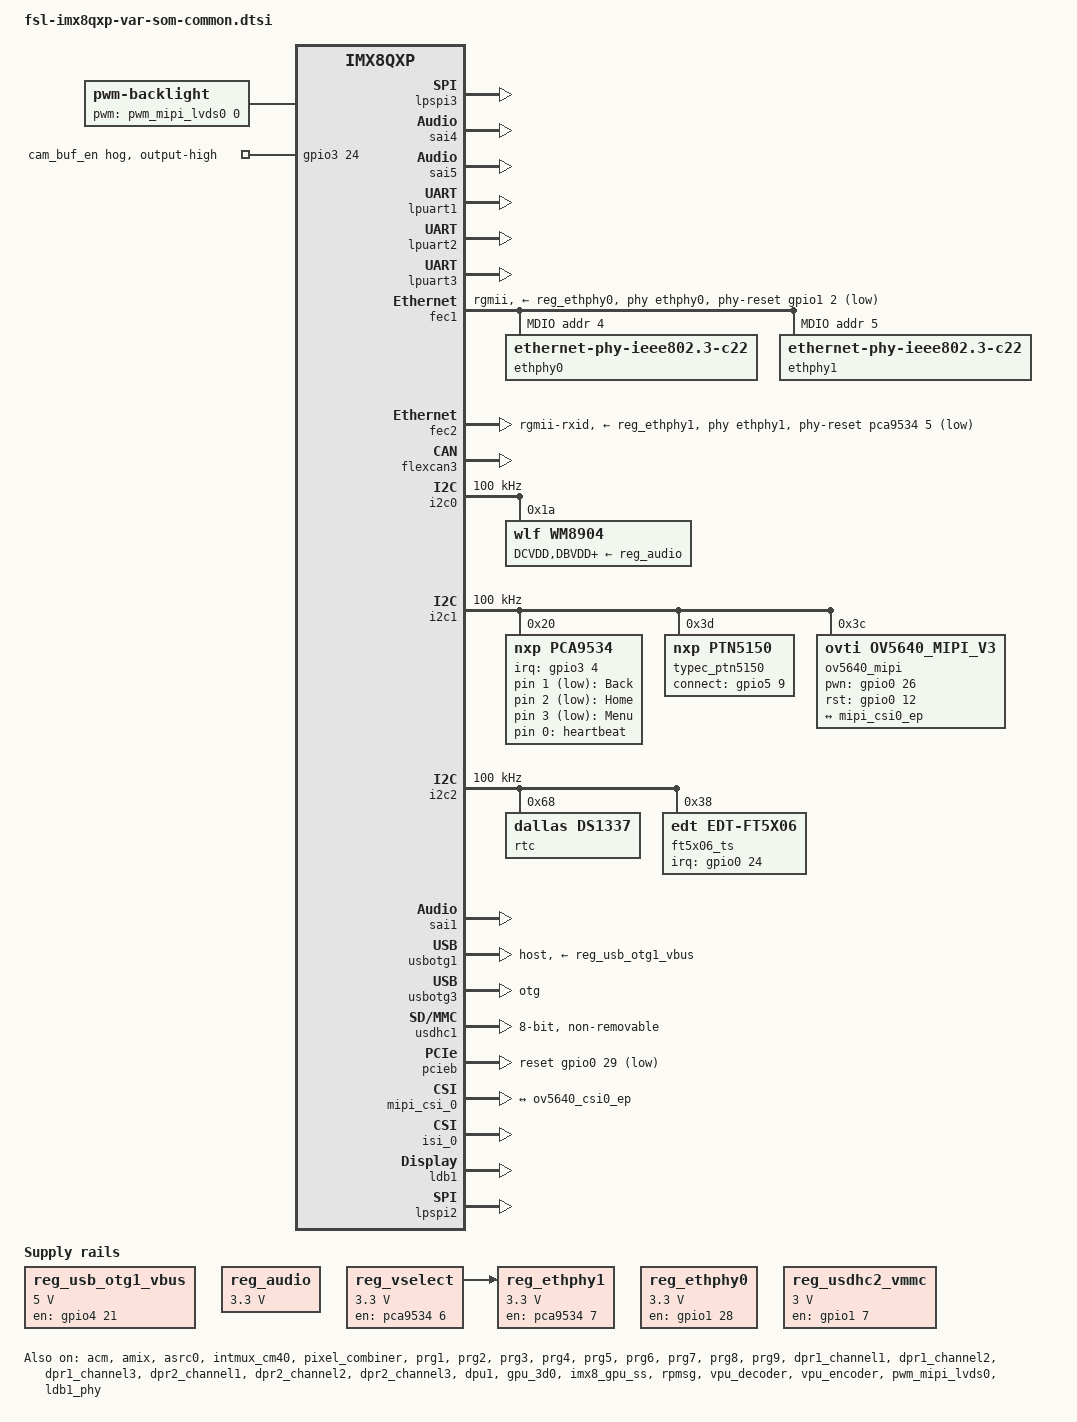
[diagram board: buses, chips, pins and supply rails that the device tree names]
/*
 * Copyright 2017-2018 NXP
 * Copyright 2019 Variscite Ltd.
 *
 * This program is free software; you can redistribute it and/or
 * modify it under the terms of the GNU General Public License
 * as published by the Free Software Foundation; either version 2
 * of the License, or (at your option) any later version.
 *
 * This program is distributed in the hope that it will be useful,
 * but WITHOUT ANY WARRANTY; without even the implied warranty of
 * MERCHANTABILITY or FITNESS FOR A PARTICULAR PURPOSE.  See the
 * GNU General Public License for more details.
 */

/dts-v1/;

#include "../freescale/fsl-imx8qxp.dtsi"

/ {
	compatible = "variscite,var-som-mx8x", "fsl,imx8qxp";

	chosen {
		bootargs = "console=ttyLP3,115200 earlycon=lpuart32,0x5a090000,115200";
		stdout-path = &lpuart3;
	};

	aliases {
		gpio0 = &gpio0;
		gpio1 = &gpio1;
		gpio2 = &gpio2;
		gpio3 = &gpio3;
		gpio4 = &gpio4;
		gpio5 = &gpio5;
		gpio6 = &gpio6;
		gpio7 = &gpio7;
		gpio8 = &pca9534;
		i2c0  = &i2c0;
		i2c1  = &i2c1;
		i2c2  = &i2c2;
	};

	regulators {
		compatible = "simple-bus";
		#address-cells = <1>;
		#size-cells = <0>;

		reg_usb_otg1_vbus: regulator-usb-otg1-vbus {
			compatible = "regulator-fixed";
			regulator-name = "usb_otg1_vbus";
			regulator-min-microvolt = <5000000>;
			regulator-max-microvolt = <5000000>;
			gpio = <&gpio4 21 GPIO_ACTIVE_HIGH>;
			enable-active-high;
		};

		reg_audio: regulator-audio {
			compatible = "regulator-fixed";
			regulator-name = "wm8904_supply";
			regulator-min-microvolt = <3300000>;
			regulator-max-microvolt = <3300000>;
			regulator-always-on;
		};

		reg_vselect: regulator-vselect {
			compatible = "regulator-fixed";
			regulator-name = "reg_vselect";
			regulator-min-microvolt = <3300000>;
			regulator-max-microvolt = <3300000>;
			regulator-always-on;
			gpio = <&pca9534 6 GPIO_ACTIVE_HIGH>;
			enable-active-high;
		};
	
		reg_ethphy1: regulator-ethphy1 {
			compatible = "regulator-fixed";
			vin-supply = <&reg_vselect>;
			regulator-name = "reg_ethphy1";
			regulator-min-microvolt = <3300000>;
			regulator-max-microvolt = <3300000>;
			regulator-always-on;
			gpio = <&pca9534 7 GPIO_ACTIVE_HIGH>;
			enable-active-high;
		};

		reg_ethphy0: regulator-ethphy0 {
			compatible = "regulator-fixed";
			regulator-name = "reg_ethphy0";
			regulator-min-microvolt = <3300000>;
			regulator-max-microvolt = <3300000>;
			gpio = <&gpio1 28 GPIO_ACTIVE_HIGH>;
			enable-active-high;
			regulator-off-in-suspend;
		};

		reg_usdhc2_vmmc: regulator-usdhc2-vmmc {
			compatible = "regulator-fixed";
			regulator-name = "reg_sd_pwr";
			regulator-min-microvolt = <3000000>;
			regulator-max-microvolt = <3000000>;
			gpio = <&gpio1 7 GPIO_ACTIVE_HIGH>;
			off-on-delay = <3480>;
			enable-active-high;
		};
	};

	sound-wm8904 {
		compatible = "fsl,imx-audio-wm8904";
		model = "imx-wm8904";
		audio-cpu = <&sai1>;
		audio-codec = <&wm8904>;
		audio-routing =
			"Headphone Jack", "HPOUTL",
			"Headphone Jack", "HPOUTR",
			"IN2L", "Line In Jack",
			"IN2R", "Line In Jack",
			"IN1L", "Mic Jack",
			"Playback", "CPU-Playback",
			"CPU-Capture", "Capture";
		codec-master;
		status = "okay";
        };

	sound-amix-sai {
		compatible = "fsl,imx-audio-amix";
		model = "amix-audio-sai";
		dais = <&sai4>, <&sai5>;
		amix-controller = <&amix>;
		status = "okay";
	};

	backlight: backlight {
		compatible = "pwm-backlight";
		pwms = <&pwm_mipi_lvds0 0 100000 0>;

		brightness-levels = < 0  1  2  3  4  5  6  7  8  9
				     10 11 12 13 14 15 16 17 18 19
				     20 21 22 23 24 25 26 27 28 29
				     30 31 32 33 34 35 36 37 38 39
				     40 41 42 43 44 45 46 47 48 49
				     50 51 52 53 54 55 56 57 58 59
				     60 61 62 63 64 65 66 67 68 69
				     70 71 72 73 74 75 76 77 78 79
				     80 81 82 83 84 85 86 87 88 89
				     90 91 92 93 94 95 96 97 98 99
				    100>;
		default-brightness-level = <80>;
		status = "okay";
	};

        gpio-keys {
                compatible = "gpio-keys";

                back {
                        label = "Back";
                        gpios = <&pca9534 1 GPIO_ACTIVE_LOW>;
                        linux,code = <KEY_BACK>;
                };

                home {
                        label = "Home";
                        gpios = <&pca9534 2 GPIO_ACTIVE_LOW>;
                        linux,code = <KEY_HOME>;
                };

                menu {
                        label = "Menu";
                        gpios = <&pca9534 3 GPIO_ACTIVE_LOW>;
                        linux,code = <KEY_MENU>;
                };
        };

	leds {
		compatible = "gpio-leds";
	
		heartbeat {
			label = "heartbeat";
			gpios = <&pca9534 0 GPIO_ACTIVE_HIGH>;
			linux,default-trigger = "heartbeat";
		};
	};

	lpspi3: lpspi@5a030000 {
		compatible = "fsl,imx7ulp-spi";
		reg = <0x0 0x5a030000 0x0 0x10000>;
		interrupts = <GIC_SPI 219 IRQ_TYPE_LEVEL_HIGH>;
		interrupt-parent = <&gic>;
		clocks = <&clk IMX8QXP_SPI3_CLK>,
			 <&clk IMX8QXP_SPI3_IPG_CLK>;
		clock-names = "per", "ipg";
		assigned-clocks = <&clk IMX8QXP_SPI3_CLK>;
		assigned-clock-rates = <20000000>;
		power-domains = <&pd_dma2_chan7>;
		dma-names = "tx","rx";
		dmas = <&edma2 7 0 0>, <&edma2 6 0 1>;
		status = "okay";
	};
};

&acm {
	status = "okay";
};

&amix {
	status = "okay";
};

&asrc0 {
	fsl,asrc-rate  = <48000>;
	status = "okay";
};

&sai4 {
	assigned-clocks = <&clk IMX8QXP_ACM_SAI4_MCLK_SEL>,
			<&clk IMX8QXP_AUD_PLL1_DIV>,
			<&clk IMX8QXP_AUD_ACM_AUD_PLL_CLK1_DIV>,
			<&clk IMX8QXP_AUD_ACM_AUD_REC_CLK1_DIV>,
			<&clk IMX8QXP_AUD_SAI_4_MCLK>;
	assigned-clock-parents = <&clk IMX8QXP_AUD_ACM_AUD_PLL_CLK1_CLK>;
	assigned-clock-rates = <0>, <786432000>, <98304000>, <12288000>, <98304000>;
	fsl,sai-asynchronous;
	fsl,txm-rxs;
	status = "okay";
};

&sai5 {
	assigned-clocks = <&clk IMX8QXP_ACM_SAI5_MCLK_SEL>,
			<&clk IMX8QXP_AUD_PLL1_DIV>,
			<&clk IMX8QXP_AUD_ACM_AUD_PLL_CLK1_DIV>,
			<&clk IMX8QXP_AUD_ACM_AUD_REC_CLK1_DIV>,
			<&clk IMX8QXP_AUD_SAI_5_MCLK>;
	assigned-clock-parents = <&clk IMX8QXP_AUD_ACM_AUD_PLL_CLK1_CLK>;
	assigned-clock-rates = <0>, <786432000>, <98304000>, <12288000>, <98304000>;
	fsl,sai-asynchronous;
	fsl,txm-rxs;
	status = "okay";
};

&iomuxc {
	pinctrl-names = "default";
	pinctrl-0 = <&pinctrl_hog>;

	imx8qxp-var-som {
		pinctrl_hog: hoggrp {
			fsl,pins = <
				SC_P_MCLK_OUT0_ADMA_ACM_MCLK_OUT0		0x0600004c
				SC_P_COMP_CTL_GPIO_1V8_3V3_GPIORHB_PAD		0x000514a0
			>;
		};

		pinctrl_lpuart0: lpuart0grp {
			fsl,pins = <
				SC_P_UART0_RX_ADMA_UART0_RX			0x06000020
				SC_P_UART0_TX_ADMA_UART0_TX			0x06000020
				SC_P_FLEXCAN0_RX_ADMA_UART0_RTS_B		0x06000020
				SC_P_FLEXCAN0_TX_ADMA_UART0_CTS_B		0x06000020
			>;
		};

		pinctrl_lpuart1: lpuart1grp {
			fsl,pins = <
				SC_P_UART1_TX_ADMA_UART1_TX			0x06000020
				SC_P_UART1_RX_ADMA_UART1_RX			0x06000020
			>;
		};

		pinctrl_lpuart2: lpuart2grp {
			fsl,pins = <
				SC_P_UART2_TX_ADMA_UART2_TX			0x06000020
				SC_P_UART2_RX_ADMA_UART2_RX			0x06000020
			>;
		};

		pinctrl_lpuart3: lpuart3grp {
			fsl,pins = <
				SC_P_SCU_GPIO0_00_ADMA_UART3_RX			0x06000020
				SC_P_SCU_GPIO0_01_ADMA_UART3_TX			0x06000020
			>;
		};

		pinctrl_flexcan3: flexcan3grp {
			fsl,pins = <
				SC_P_FLEXCAN2_TX_ADMA_FLEXCAN2_TX		0x06000020
				SC_P_FLEXCAN2_RX_ADMA_FLEXCAN2_RX		0x06000020
			>;
		};

		pinctrl_fec1: fec1grp {
			fsl,pins = <
				SC_P_COMP_CTL_GPIO_1V8_3V3_ENET_ENETB0_PAD	0x000014a0
				SC_P_COMP_CTL_GPIO_1V8_3V3_ENET_ENETB1_PAD	0x000014a0
				SC_P_ENET0_MDC_CONN_ENET0_MDC			0x06000020
				SC_P_ENET0_MDIO_CONN_ENET0_MDIO			0x06000020
				SC_P_ENET0_RGMII_TX_CTL_CONN_ENET0_RGMII_TX_CTL	0x00000061
				SC_P_ENET0_RGMII_TXC_CONN_ENET0_RGMII_TXC	0x00000061
				SC_P_ENET0_RGMII_TXD0_CONN_ENET0_RGMII_TXD0	0x00000061
				SC_P_ENET0_RGMII_TXD1_CONN_ENET0_RGMII_TXD1	0x00000061
				SC_P_ENET0_RGMII_TXD2_CONN_ENET0_RGMII_TXD2	0x00000061
				SC_P_ENET0_RGMII_TXD3_CONN_ENET0_RGMII_TXD3	0x00000061
				SC_P_ENET0_RGMII_RXC_CONN_ENET0_RGMII_RXC	0x00000061
				SC_P_ENET0_RGMII_RX_CTL_CONN_ENET0_RGMII_RX_CTL	0x00000061
				SC_P_ENET0_RGMII_RXD0_CONN_ENET0_RGMII_RXD0	0x00000061
				SC_P_ENET0_RGMII_RXD1_CONN_ENET0_RGMII_RXD1	0x00000061
				SC_P_ENET0_RGMII_RXD2_CONN_ENET0_RGMII_RXD2	0x00000061
				SC_P_ENET0_RGMII_RXD3_CONN_ENET0_RGMII_RXD3	0x00000061
				SC_P_SPI2_SDI_LSIO_GPIO1_IO02 			0x06000021
				SC_P_MIPI_DSI0_GPIO0_01_LSIO_GPIO1_IO28		0xC0000021		
			>;
		};

		pinctrl_fec2: fec2grp {
			fsl,pins = <
				SC_P_ESAI0_SCKR_CONN_ENET1_RGMII_TX_CTL		0x00000060
				SC_P_ESAI0_FSR_CONN_ENET1_RGMII_TXC		0x00000060
				SC_P_ESAI0_TX4_RX1_CONN_ENET1_RGMII_TXD0	0x00000060
				SC_P_ESAI0_TX5_RX0_CONN_ENET1_RGMII_TXD1	0x00000060
				SC_P_ESAI0_FST_CONN_ENET1_RGMII_TXD2		0x00000060
				SC_P_ESAI0_SCKT_CONN_ENET1_RGMII_TXD3		0x00000060
				SC_P_ESAI0_TX0_CONN_ENET1_RGMII_RXC		0x00000060
				SC_P_SPDIF0_TX_CONN_ENET1_RGMII_RX_CTL		0x00000060
				SC_P_SPDIF0_RX_CONN_ENET1_RGMII_RXD0		0x00000060
				SC_P_ESAI0_TX3_RX2_CONN_ENET1_RGMII_RXD1	0x00000060
				SC_P_ESAI0_TX2_RX3_CONN_ENET1_RGMII_RXD2	0x00000060
				SC_P_ESAI0_TX1_CONN_ENET1_RGMII_RXD3		0x00000060
			>;
		};

		pinctrl_pwm_mipi_lvds0: mipi_lvds0_pwm_grp {
			fsl,pins = <
				SC_P_MIPI_DSI0_GPIO0_00_MIPI_DSI0_PWM0_OUT	0x00000020
			>;
		};

		pinctrl_lpi2c0: lpi2c0grp {
			fsl,pins = <
				SC_P_MIPI_CSI0_GPIO0_00_ADMA_I2C0_SCL		0x06000021
				SC_P_MIPI_CSI0_GPIO0_01_ADMA_I2C0_SDA		0x06000021
			>;
		};

		pinctrl_lpi2c1: lpi2c1grp {
			fsl,pins = <
				SC_P_USB_SS3_TC0_ADMA_I2C1_SCL			0x06000021
				SC_P_USB_SS3_TC2_ADMA_I2C1_SDA			0x06000021
			>;
		};

		pinctrl_lpi2c2: lpi2c2grp {
			fsl,pins = <
				SC_P_MIPI_DSI1_GPIO0_00_ADMA_I2C2_SCL		0x06000021
				SC_P_MIPI_DSI1_GPIO0_01_ADMA_I2C2_SDA		0x06000021
			>;
		};

		pinctrl_sai1: sai1grp {
			fsl,pins = <
				SC_P_FLEXCAN1_TX_ADMA_SAI1_RXD			0x06000040
				SC_P_FLEXCAN1_RX_ADMA_SAI1_TXD			0x06000060
				SC_P_SAI1_RXC_ADMA_SAI1_TXC			0x06000040
				SC_P_SAI0_TXD_ADMA_SAI1_RXC			0x06000040
				SC_P_SAI1_RXFS_ADMA_SAI1_TXFS			0x06000040
				SC_P_SAI0_RXD_ADMA_SAI1_RXFS			0x06000040
			>;
		};

		pinctrl_usdhc1: usdhc1grp {
			fsl,pins = <
				SC_P_EMMC0_CLK_CONN_EMMC0_CLK			0x06000041
				SC_P_EMMC0_CMD_CONN_EMMC0_CMD			0x00000021
				SC_P_EMMC0_DATA0_CONN_EMMC0_DATA0		0x00000021
				SC_P_EMMC0_DATA1_CONN_EMMC0_DATA1		0x00000021
				SC_P_EMMC0_DATA2_CONN_EMMC0_DATA2		0x00000021
				SC_P_EMMC0_DATA3_CONN_EMMC0_DATA3		0x00000021
				SC_P_EMMC0_DATA4_CONN_EMMC0_DATA4		0x00000021
				SC_P_EMMC0_DATA5_CONN_EMMC0_DATA5		0x00000021
				SC_P_EMMC0_DATA6_CONN_EMMC0_DATA6		0x00000021
				SC_P_EMMC0_DATA7_CONN_EMMC0_DATA7		0x00000021
				SC_P_EMMC0_STROBE_CONN_EMMC0_STROBE		0x00000041
			>;
		};

		pinctrl_typec: typecgrp {
			fsl,pins = <
				SC_P_ENET0_REFCLK_125M_25M_LSIO_GPIO5_IO09	0x60
			>;
		};

		pinctrl_usdhc1_100mhz: usdhc1grp100mhz {
			fsl,pins = <
				SC_P_EMMC0_CLK_CONN_EMMC0_CLK			0x06000041
				SC_P_EMMC0_CMD_CONN_EMMC0_CMD			0x00000021
				SC_P_EMMC0_DATA0_CONN_EMMC0_DATA0		0x00000021
				SC_P_EMMC0_DATA1_CONN_EMMC0_DATA1		0x00000021
				SC_P_EMMC0_DATA2_CONN_EMMC0_DATA2		0x00000021
				SC_P_EMMC0_DATA3_CONN_EMMC0_DATA3		0x00000021
				SC_P_EMMC0_DATA4_CONN_EMMC0_DATA4		0x00000021
				SC_P_EMMC0_DATA5_CONN_EMMC0_DATA5		0x00000021
				SC_P_EMMC0_DATA6_CONN_EMMC0_DATA6		0x00000021
				SC_P_EMMC0_DATA7_CONN_EMMC0_DATA7		0x00000021
				SC_P_EMMC0_STROBE_CONN_EMMC0_STROBE		0x00000041
			>;
		};

		pinctrl_usdhc1_200mhz: usdhc1grp200mhz {
			fsl,pins = <
				SC_P_EMMC0_CLK_CONN_EMMC0_CLK			0x06000041
				SC_P_EMMC0_CMD_CONN_EMMC0_CMD			0x00000021
				SC_P_EMMC0_DATA0_CONN_EMMC0_DATA0		0x00000021
				SC_P_EMMC0_DATA1_CONN_EMMC0_DATA1		0x00000021
				SC_P_EMMC0_DATA2_CONN_EMMC0_DATA2		0x00000021
				SC_P_EMMC0_DATA3_CONN_EMMC0_DATA3		0x00000021
				SC_P_EMMC0_DATA4_CONN_EMMC0_DATA4		0x00000021
				SC_P_EMMC0_DATA5_CONN_EMMC0_DATA5		0x00000021
				SC_P_EMMC0_DATA6_CONN_EMMC0_DATA6		0x00000021
				SC_P_EMMC0_DATA7_CONN_EMMC0_DATA7		0x00000021
				SC_P_EMMC0_STROBE_CONN_EMMC0_STROBE		0x00000041
			>;
		};

		pinctrl_usdhc2_gpio: usdhc2gpiogrp {
			fsl,pins = <
				SC_P_SPI0_CS1_LSIO_GPIO1_IO07			0x00000021
				SC_P_USDHC1_CD_B_LSIO_GPIO4_IO22		0x00000021
			>;
		};

		pinctrl_usdhc2: usdhc2grp {
			fsl,pins = <
				SC_P_USDHC1_CLK_CONN_USDHC1_CLK			0x06000041
				SC_P_USDHC1_CMD_CONN_USDHC1_CMD			0x00000021
				SC_P_USDHC1_DATA0_CONN_USDHC1_DATA0		0x00000021
				SC_P_USDHC1_DATA1_CONN_USDHC1_DATA1		0x00000021
				SC_P_USDHC1_DATA2_CONN_USDHC1_DATA2		0x00000021
				SC_P_USDHC1_DATA3_CONN_USDHC1_DATA3		0x00000021
			>;
		};

		pinctrl_usdhc2_100mhz: usdhc2grp100mhz {
			fsl,pins = <
				SC_P_USDHC1_CLK_CONN_USDHC1_CLK			0x06000041
				SC_P_USDHC1_CMD_CONN_USDHC1_CMD			0x00000021
				SC_P_USDHC1_DATA0_CONN_USDHC1_DATA0		0x00000021
				SC_P_USDHC1_DATA1_CONN_USDHC1_DATA1		0x00000021
				SC_P_USDHC1_DATA2_CONN_USDHC1_DATA2		0x00000021
				SC_P_USDHC1_DATA3_CONN_USDHC1_DATA3		0x00000021
			>;
		};

		pinctrl_usdhc2_200mhz: usdhc2grp200mhz {
			fsl,pins = <
				SC_P_USDHC1_CLK_CONN_USDHC1_CLK			0x06000041
				SC_P_USDHC1_CMD_CONN_USDHC1_CMD			0x00000021
				SC_P_USDHC1_DATA0_CONN_USDHC1_DATA0		0x00000021
				SC_P_USDHC1_DATA1_CONN_USDHC1_DATA1		0x00000021
				SC_P_USDHC1_DATA2_CONN_USDHC1_DATA2		0x00000021
				SC_P_USDHC1_DATA3_CONN_USDHC1_DATA3		0x00000021
			>;
		};

		pinctrl_pcieb: pciebgrp {
			fsl,pins = <
				SC_P_SAI1_RXD_LSIO_GPIO0_IO29			0x60000021
			>;
		};

		pinctrl_wifi: wifigrp {
			fsl,pins = <
				SC_P_SCU_BOOT_MODE3_SCU_DSC_RTC_CLOCK_OUTPUT_32K      0x20 /* WIFI_32K_CLK */
				SC_P_QSPI0A_SCLK_LSIO_GPIO3_IO16		0x06000021 /* WIFI_3V3     */
				SC_P_QSPI0A_DQS_LSIO_GPIO3_IO13			0x06000021 /* WIFI_1V8     */
				SC_P_QSPI0A_DATA0_LSIO_GPIO3_IO09		0x06000021 /* WIFI_REG_ON  */
				SC_P_QSPI0A_DATA1_LSIO_GPIO3_IO10		0x06000021 /* BT_REG_ON    */
				SC_P_MIPI_DSI1_I2C0_SCL_LSIO_GPIO1_IO29		0x06000021 /* BT_BUF       */
				SC_P_QSPI0A_DATA2_LSIO_GPIO3_IO11		0x06000021 /* BT_HOST_WAKE */
			>;
		};

		pinctrl_pca9534: pca9534grp {
			fsl,pins = <
                        	SC_P_MIPI_CSI0_MCLK_OUT_LSIO_GPIO3_IO04  	0xC0000041      
			>;
		};

		pinctrl_captouch: captouchgrp {
			fsl,pins = <
				SC_P_UART1_CTS_B_LSIO_GPIO0_IO24		0xC0000041
				/* Workaround for capacitive touch problem on Symphony board 1.1 */
				SC_P_UART1_RTS_B_LSIO_GPT1_CAPTURE              0x06000020
			>;
		};

		pinctrl_restouch: restouchgrp {
			fsl,pins = <
                        	SC_P_USDHC1_RESET_B_LSIO_GPIO4_IO19  		0xC0000041      
			>;
		};
		
		pinctrl_usb1otg: usb1otggrp {
			fsl,pins = <
				SC_P_USDHC1_WP_LSIO_GPIO4_IO21			0xC0000041
			>;
		};

		pinctrl_lpspi2: lpspi2grp {
			fsl,pins = <
				SC_P_SPI2_SCK_ADMA_SPI2_SCK			0x0600004c
				SC_P_MCLK_IN0_ADMA_SPI2_SDI			0x0600004c
				SC_P_SPI2_SDO_ADMA_SPI2_SDO			0x0600004c
			>;
		};

		pinctrl_lpspi2_cs: lpspi2csgrp {
			fsl,pins = <
				SC_P_SPI2_CS0_LSIO_GPIO1_IO00			0x21
			>;
		};

		pinctrl_lpspi3: lpspi3grp {
			fsl,pins = <
				SC_P_SPI3_SCK_ADMA_SPI3_SCK			0x0600004c
				SC_P_SPI3_SDI_ADMA_SPI3_SDI			0x0600004c
				SC_P_SPI3_SDO_ADMA_SPI3_SDO			0x0600004c
			>;
		};

		pinctrl_lpspi3_cs: lpspi3csgrp {
			fsl,pins = <
				SC_P_SPI3_CS0_LSIO_GPIO0_IO16			0x21
			>;
		};

		pinctrl_mipicsi0: mipicsi0grp {
			fsl,pins = <
				SC_P_QSPI0B_SS1_B_LSIO_GPIO3_IO24		0xC0000041 /* CAM_BUF_EN */
				SC_P_SPDIF0_EXT_CLK_LSIO_GPIO0_IO12		0xC0000041 /* CAM_RST */
				SC_P_SAI0_TXC_LSIO_GPIO0_IO26			0xC0000041 /* CAM_PWR */
			>;
		};
	};
};

/* BT UART power domain */
&pd_dma_lpuart0 {
	#address-cells = <1>;
	#size-cells = <0>;

	pd_dma2_chan8: PD_UART0_RX {
		reg = <SC_R_DMA_2_CH8>;
		power-domains =<&pd_dma_lpuart0>;
		#power-domain-cells = <0>;
		#address-cells = <1>;
		#size-cells = <0>;

		pd_dma2_chan9: PD_UART0_TX {
			reg = <SC_R_DMA_2_CH9>;
			power-domains =<&pd_dma2_chan8>;
			#power-domain-cells = <0>;
			#address-cells = <1>;
			#size-cells = <0>;
		};
	};
};

/* BT/Header */
&lpuart0 {
	pinctrl-names = "default";
	pinctrl-0 = <&pinctrl_lpuart0>;
	uart-has-rtscts;
	dma-names = "tx","rx";
	dmas = <&edma2 9 0 0>,
	       <&edma2 8 0 1>;
	power-domains = <&pd_dma2_chan9>;
	status = "disabled";
};

/* Header */
&lpuart1 {
	pinctrl-names = "default";
	pinctrl-0 = <&pinctrl_lpuart1>;
	status = "okay";
};

/* Header */
&lpuart2 {
	pinctrl-names = "default";
	pinctrl-0 = <&pinctrl_lpuart2>;
	status = "okay";
};

/* Console UART power domain */
&pd_dma_lpuart3 {
	debug_console;
};

/* Console */
&lpuart3 {
	pinctrl-names = "default";
	pinctrl-0 = <&pinctrl_lpuart3>;
	dma-names = "","";
	status = "okay";
};

&fec1 {
	pinctrl-names = "default";
	pinctrl-0 = <&pinctrl_fec1>;
	phy-mode = "rgmii";
	phy-handle = <&ethphy0>;
	fsl,magic-packet;
	status = "okay";
	phy-supply = <&reg_ethphy0>;
	phy-reset-gpios = <&gpio1 2 GPIO_ACTIVE_LOW>;

	mdio {
		#address-cells = <1>;
		#size-cells = <0>;

		ethphy0: ethernet-phy@4 {
			compatible = "ethernet-phy-ieee802.3-c22";
			reg = <4>;
			at803x,eee-disabled;
			at803x,vddio-1p8v;
		};

		ethphy1: ethernet-phy@5 {
			compatible = "ethernet-phy-ieee802.3-c22";
			reg = <5>;
			at803x,eee-disabled;
			at803x,vddio-1p8v;
		};
	};
};

&fec2 {
	pinctrl-names = "default";
	pinctrl-0 = <&pinctrl_fec2>;
	phy-mode = "rgmii-rxid";
	phy-handle = <&ethphy1>;
	fsl,magic-packet;
	status = "okay";
	phy-supply = <&reg_ethphy1>;
	phy-reset-gpios = <&pca9534 5 GPIO_ACTIVE_LOW>;
	phy-reset-duration = <100>;
	phy-reset-post-delay = <100>;
};

&flexcan3 {
	pinctrl-names = "default";
	pinctrl-0 = <&pinctrl_flexcan3>;
	status = "okay";
};

&pd_cm40_intmux {
	early_power_on;
};

&intmux_cm40 {
	status = "okay";
};

&i2c0 {
	#address-cells = <1>;
	#size-cells = <0>;
	clock-frequency = <100000>;
	pinctrl-names = "default";
	pinctrl-0 = <&pinctrl_lpi2c0>;
	status = "okay";

	wm8904: codec@1a {
		compatible = "wlf,wm8904";
		reg = <0x1a>;
		clocks = <&clk IMX8QXP_AUD_MCLKOUT0>;
		clock-names = "mclk";
		DCVDD-supply = <&reg_audio>;
		DBVDD-supply = <&reg_audio>;
		AVDD-supply = <&reg_audio>;
		CPVDD-supply = <&reg_audio>;
		MICVDD-supply = <&reg_audio>;
		gpio-cfg = <
			0x0018 /* GPIO1 => DMIC_CLK */
			0xffff /* GPIO2 => don't touch */
			0xffff /* GPIO3 => don't touch */
			0xffff /* GPIO4 => don't touch */
		>;
		status = "okay";
		power-domains = <&pd_mclk_out0>;
	};
};

&i2c1 {
	#address-cells = <1>;
	#size-cells = <0>;
	clock-frequency = <100000>;
	pinctrl-names = "default";
	pinctrl-0 = <&pinctrl_lpi2c1>;
	status = "okay";

	/* GPIO expander */
	pca9534:gpio@20 {
		compatible = "nxp,pca9534";
		reg = <0x20>;
		gpio-controller;
		pinctrl-names = "default";
		pinctrl-0 = <&pinctrl_pca9534>;
		interrupt-parent = <&gpio3>;
		interrupts = <4 IRQ_TYPE_EDGE_FALLING>;
		#gpio-cells = <2>;
		wakeup-source;
        };

	/* USB-C controller */
	typec_ptn5150: typec@3d {
		status = "okay";
		compatible = "nxp,ptn5150";
		reg = <0x3d>;
		pinctrl-names = "default";
		pinctrl-0 = <&pinctrl_typec>;
		connect-gpios = <&gpio5 9 GPIO_ACTIVE_HIGH>;
	};

	/* MIPI-CSI2 sensor */
	ov5640_mipi: ov5640_mipi@3c {
		status = "okay";
		compatible = "ovti,ov5640_mipi_v3";
		reg = <0x3c>;
		pinctrl-names = "default";
		pinctrl-0 = <&pinctrl_mipicsi0>;
		clocks = <&clk IMX8QXP_CLK_DUMMY>;
		clock-names = "csi_mclk";
		csi_id = <0>;
		pwn-gpios = <&gpio0 26 GPIO_ACTIVE_HIGH>;
		rst-gpios = <&gpio0 12 GPIO_ACTIVE_HIGH>;
		mclk = <24000000>;
		mclk_source = <0>;

		port {
			ov5640_csi0_ep: endpoint {
				remote-endpoint = <&mipi_csi0_ep>;
			};
		};
	};
};

&i2c2 {
	#address-cells = <1>;
	#size-cells = <0>;
	clock-frequency = <100000>;
	pinctrl-names = "default";
	pinctrl-0 = <&pinctrl_lpi2c2>;
	status = "okay";

        /* DS1337 RTC module */
	rtc@0x68 {
		status = "okay";
		compatible = "dallas,ds1337";
		reg = <0x68>;
        };

	/* Capacitive touch controller */
	ft5x06_ts: ft5x06_ts@38 {
		status = "okay";
		compatible = "edt,edt-ft5x06";
		reg = <0x38>;
		pinctrl-names = "default";
		pinctrl-0 = <&pinctrl_captouch>;
		interrupt-parent = <&gpio0>;
		interrupts = <24 0>;
		touchscreen-size-x = <800>;
		touchscreen-size-y = <480>;
		touchscreen-inverted-x;
		touchscreen-inverted-y;
        };
};

&sai1 {
	assigned-clocks = <&clk IMX8QXP_AUD_PLL0_DIV>,
			<&clk IMX8QXP_AUD_ACM_AUD_PLL_CLK0_DIV>,
			<&clk IMX8QXP_AUD_ACM_AUD_REC_CLK0_DIV>,
			<&clk IMX8QXP_AUD_SAI_1_MCLK>;
	assigned-clock-rates = <786432000>, <49152000>, <12288000>, <49152000>;
	pinctrl-names = "default";
	pinctrl-0 = <&pinctrl_sai1>;
	status = "okay";
};

&usbotg1 {
	vbus-supply = <&reg_usb_otg1_vbus>;
	srp-disable;
	hnp-disable;
	adp-disable;
	power-polarity-active-high;
	disable-over-current;
	status = "okay";
	dr_mode = "host";
	pinctrl-names = "default";
	pinctrl-0 = <&pinctrl_usb1otg>;
};

&usbotg3 {
	dr_mode = "otg";
	extcon = <&typec_ptn5150>;
	status = "okay";
};

&usdhc1 {
	pinctrl-names = "default", "state_100mhz", "state_200mhz";
	pinctrl-0 = <&pinctrl_usdhc1>;
	pinctrl-1 = <&pinctrl_usdhc1_100mhz>;
	pinctrl-2 = <&pinctrl_usdhc1_200mhz>;
	bus-width = <8>;
	non-removable;
	status = "okay";
};

&pcieb {
	ext_osc = <1>;
	pinctrl-names = "default";
	pinctrl-0 = <&pinctrl_pcieb>;
	reset-gpio = <&gpio0 29 GPIO_ACTIVE_LOW>;
	status = "okay";
};

&pca9534 {
	usb3_sel_hog {
		gpio-hog;
		gpios = <4 0>;
		output-low;
		line-name = "usb3_sel";
	};
};

&gpio3 {
	cam_buf_hog {
		gpio-hog;
		gpios = <24 0>;
		output-high;
		line-name = "cam_buf_en";
	};
};

&gpio0_mipi_csi0 {
	status = "disabled";
};

&pixel_combiner {
	status = "okay";
};

&prg1 {
	status = "okay";
};

&prg2 {
	status = "okay";
};

&prg3 {
	status = "okay";
};

&prg4 {
	status = "okay";
};

&prg5 {
	status = "okay";
};

&prg6 {
	status = "okay";
};

&prg7 {
	status = "okay";
};

&prg8 {
	status = "okay";
};

&prg9 {
	status = "okay";
};

&dpr1_channel1 {
	status = "okay";
};

&dpr1_channel2 {
	status = "okay";
};

&dpr1_channel3 {
	status = "okay";
};

&dpr2_channel1 {
	status = "okay";
};

&dpr2_channel2 {
	status = "okay";
};

&dpr2_channel3 {
	status = "okay";
};

&dpu1 {
	status = "okay";
};

&gpu_3d0 {
	status = "okay";
};

&imx8_gpu_ss {
	status = "okay";
};

&rpmsg{
	/*
	 * 64K for one rpmsg instance:
	 */
	vdev-nums = <2>;
	reg = <0x0 0x90000000 0x0 0x20000>;
	status = "okay";
};

&mipi_csi_0 {
	#address-cells = <1>;
	#size-cells = <0>;
	/delete-property/virtual-channel;
	status = "okay";

	/* Camera 0  MIPI CSI-2 (CSIS0) */
	port@0 {
		reg = <0>;
		mipi_csi0_ep: endpoint {
			remote-endpoint = <&ov5640_csi0_ep>;
			data-lanes = <1 2>;
		};
	};
};

&isi_0 {
	status = "okay";
};

&isi_1 {
	status = "disabled";
};

&isi_2 {
	status = "disabled";
};

&isi_3 {
	status = "disabled";
};

&vpu {
	status = "disabled";
};

&vpu_decoder {
	core_type = <1>;
	status = "okay";
};

&vpu_encoder {
	core_type = <1>;
	status = "okay";
};

&pwm_mipi_lvds0 {
	pinctrl-names = "default";
	pinctrl-0 = <&pinctrl_pwm_mipi_lvds0>;
	status = "okay";
};

&ldb1_phy {
	status = "ok";
};

&ldb1 {
	status = "ok";
	lvds-channel@0 {
		fsl,data-mapping = "jeida";
		fsl,data-width = <24>;
		status = "ok";

		display-timings {
			lvds {
				clock-frequency = <29232000>;
				hactive = <800>;
				vactive = <480>;
				hback-porch = <40>;
				hfront-porch = <40>;
				vback-porch = <29>;
				vfront-porch = <13>;
				hsync-len = <48>;
				vsync-len = <3>;
				hsync-active = <0>;
				vsync-active = <0>;
				de-active = <1>;
				pixelclk-active = <0>;
			};
		};
	};
};

&ldb2_phy {
	status = "disabled";
};

&ldb2 {
	status = "disabled";
};

&mipi_dsi_phy1 {
	status = "disabled";
};

&mipi_dsi1 {
	status = "disabled";
};

&mipi_dsi_bridge1 {
	status = "disabled";
};

&mipi_dsi_phy2 {
	status = "disabled";
};

&mipi_dsi2 {
	status = "disabled";
};

&mipi_dsi_bridge2 {
	status = "disabled";
};

&tsens {
	tsens-num = <3>;
};

&thermal_zones {
	pmic-thermal0 {
		polling-delay-passive = <250>;
		polling-delay = <2000>;
		thermal-sensors = <&tsens 2>;
		trips {
			pmic_alert0: trip0 {
				temperature = <110000>;
				hysteresis = <2000>;
				type = "passive";
			};
			pmic_crit0: trip1 {
				temperature = <125000>;
				hysteresis = <2000>;
				type = "critical";
			};
		};
		cooling-maps {
			map0 {
				trip = <&pmic_alert0>;
				cooling-device =
				<&A35_0 THERMAL_NO_LIMIT THERMAL_NO_LIMIT>;
			};
		};
	};
};

&lpspi2 {
	#address-cells = <1>;
	#size-cells = <0>;
	pinctrl-names = "default";
	pinctrl-0 = <&pinctrl_lpspi2 &pinctrl_lpspi2_cs>;
	cs-gpios = <&gpio1 0 GPIO_ACTIVE_LOW>;
	status = "okay";

        spidev@0 {
		compatible = "spidev";
		spi-max-frequency = <12000000>;
		reg = <0>;
		status = "disabled";	
        };
};

&pd_dma_lpspi3 {
	#address-cells = <1>;
	#size-cells = <0>;
	wakeup-irq = <339>;

	pd_dma2_chan6: PD_LPSPI3_RX {
		reg = <SC_R_DMA_2_CH6>;
		power-domains =<&pd_dma_lpspi3>;
		#power-domain-cells = <0>;
		#address-cells = <1>;
		#size-cells = <0>;

		pd_dma2_chan7: PD_LPSPI3_TX {
			reg = <SC_R_DMA_2_CH7>;
			power-domains =<&pd_dma2_chan6>;
			#power-domain-cells = <0>;
			#address-cells = <1>;
			#size-cells = <0>;
		};
	};
};

&lpspi3 {
	#address-cells = <1>;
	#size-cells = <0>;
	pinctrl-names = "default";
	pinctrl-0 = <&pinctrl_lpspi3 &pinctrl_lpspi3_cs>;
	cs-gpios = <&gpio0 16 GPIO_ACTIVE_LOW>;
	status = "okay";

	/* Resistive touch controller */
	ads7846@0 {
		reg = <0>;
		compatible = "ti,ads7846";
		pinctrl-names = "default";
		pinctrl-0 = <&pinctrl_restouch>;
		interrupt-parent = <&gpio4>;
		interrupts = <19 IRQ_TYPE_EDGE_FALLING>;
		spi-max-frequency = <1500000>;
		pendown-gpio = <&gpio4 19 GPIO_ACTIVE_LOW>;
		ti,x-min = /bits/ 16 <125>;
		ti,x-max = /bits/ 16 <4008>;
		ti,y-min = /bits/ 16 <282>;
		ti,y-max = /bits/ 16 <3864>;
		ti,x-plate-ohms = /bits/ 16 <180>;
		ti,pressure-max = /bits/ 16 <255>;
		ti,debounce-max = /bits/ 16 <10>;
		ti,debounce-tol = /bits/ 16 <3>;
		ti,debounce-rep = /bits/ 16 <1>;
		ti,settle-delay-usec = /bits/ 16 <150>;
		ti,keep-vref-on;
		wakeup-source;
		status = "disabled";
        };
};

